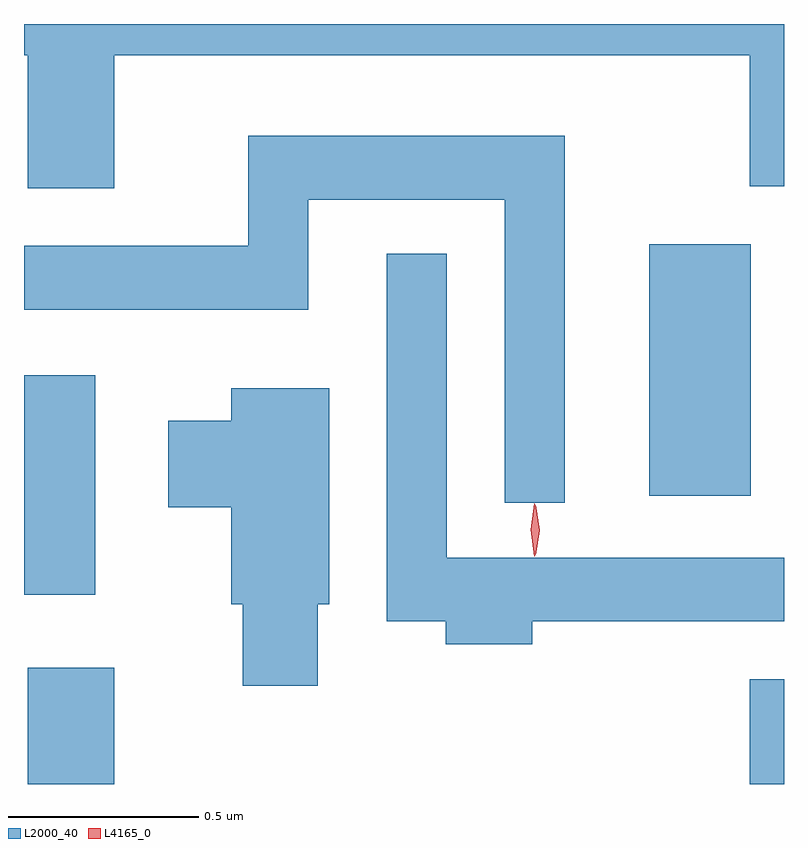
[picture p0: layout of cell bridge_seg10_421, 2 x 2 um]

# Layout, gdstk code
import gdstk
lib = gdstk.Library(unit=1e-6, precision=1e-09)
def R(c, l, rs):  # rectangles x0, y0, x1, y1
    for r in rs: c.add(gdstk.rectangle(r[:2], r[2:], *l))
def P(c, l, *ps):  # polygons
    for p in ps: c.add(gdstk.Polygon(p, *l))
L2000_40 = (2000, 40)
L4165_0 = (4165, 0)

bridge_seg10_421 = lib.new_cell('bridge_seg10_421')
R(bridge_seg10_421, L2000_40, [(1370.241,2143.078,1370.469,2143.384), (1372.141,2143.078,1372.231,2143.354), (1370.231,2143.576,1370.419,2144.154), (1371.876,2143.836,1372.144,2144.499)])
P(bridge_seg10_421, L2000_40, [(1370.469,2144.996),(1372.141,2144.996),(1372.141,2144.651),(1372.231,2144.651),(1372.231,2145.078),(1370.231,2145.078),(1370.231,2144.996),(1370.241,2144.996),(1370.241,2144.646),(1370.469,2144.646)],
  [(1371.654,2144.784),(1370.821,2144.784),(1370.821,2144.494),(1370.231,2144.494),(1370.231,2144.326),(1370.979,2144.326),(1370.979,2144.616),(1371.496,2144.616),(1371.496,2143.818),(1371.654,2143.818)],
  [(1371.569,2143.506),(1372.231,2143.506),(1372.231,2143.674),(1371.344,2143.674),(1371.344,2144.473),(1371.186,2144.473),(1371.186,2143.506),(1371.341,2143.506),(1371.341,2143.446),(1371.569,2143.446)],
  [(1371.004,2143.551),(1371.034,2143.551),(1371.034,2144.119),(1370.776,2144.119),(1370.776,2144.034),(1370.611,2144.034),(1370.611,2143.806),(1370.776,2143.806),(1370.776,2143.551),(1370.806,2143.551),(1370.806,2143.336),(1371.004,2143.336)])
P(bridge_seg10_421, L4165_0, [(1371.575,2143.677),(1371.574,2143.678),(1371.565,2143.747),(1371.574,2143.816),(1371.575,2143.816),(1371.575,2143.816),(1371.585,2143.747),(1371.575,2143.678)],
  [(1371.578,2143.68),(1371.578,2143.68),(1371.568,2143.746),(1371.578,2143.813),(1371.578,2143.813),(1371.578,2143.813),(1371.588,2143.746),(1371.578,2143.68)])

lib.write_gds('bridge_seg10_421.gds')
